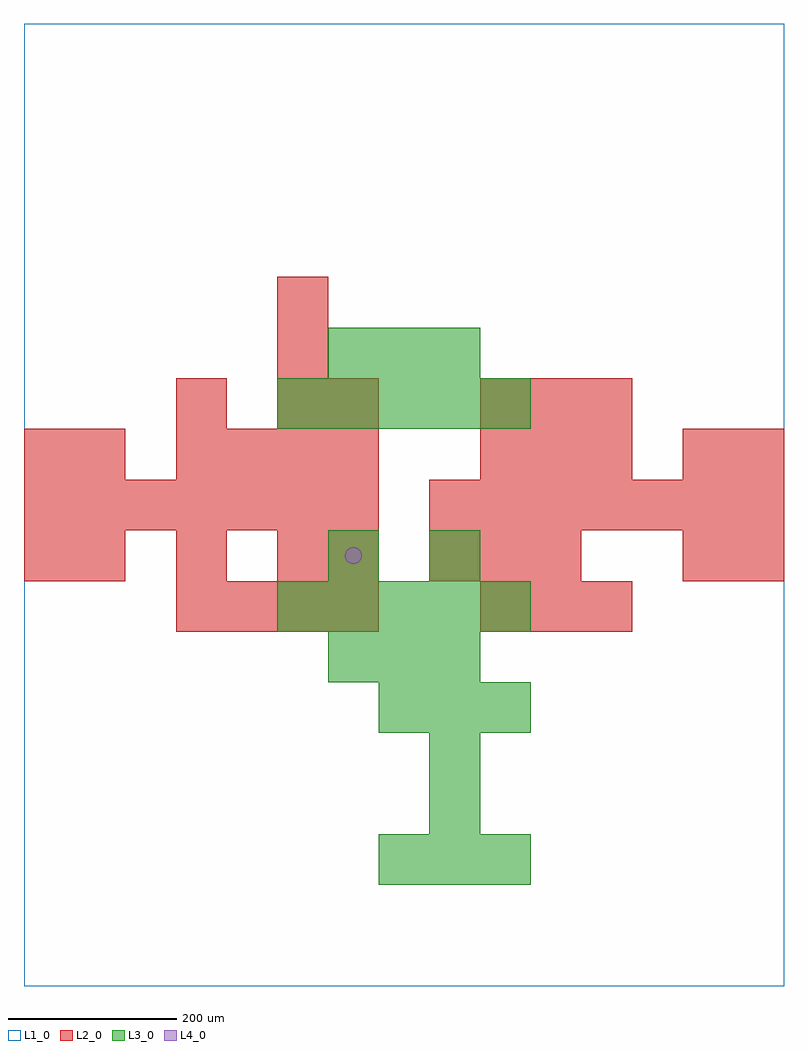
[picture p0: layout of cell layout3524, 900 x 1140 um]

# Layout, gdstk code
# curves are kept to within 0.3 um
import gdstk
lib = gdstk.Library(unit=1e-6, precision=1e-09)
def R(c, l, rs):  # rectangles x0, y0, x1, y1
    for r in rs: c.add(gdstk.rectangle(r[:2], r[2:], *l))
def A(c, l, x, y, w, h, nx, ny, dx, dy):  # array of equal rectangles
    R(c, l, [(x+i*dx, y+j*dy, x+i*dx+w, y+j*dy+h) for i in range(nx) for j in range(ny)])
def P(c, l, *ps):  # polygons
    for p in ps: c.add(gdstk.Polygon(p, *l))
L1_0 = (1, 0)
L2_0 = (2, 0)
L3_0 = (3, 0)
L4_0 = (4, 0)

layout3524 = lib.new_cell('layout3524')
R(layout3524, L1_0, [(0,0,900,1140)])
A(layout3524, L2_0, 180, 420, 60, 60, 4, 2, 60, 180)
A(layout3524, L2_0, 540, 420, 60, 60, 3, 2, 60, 180)
A(layout3524, L2_0, 60, 480, 60, 60, 3, 1, 120, 0)
A(layout3524, L2_0, 480, 480, 60, 60, 3, 1, 60, 0)
A(layout3524, L2_0, 0, 540, 60, 60, 7, 1, 60, 0)
A(layout3524, L2_0, 480, 540, 60, 60, 7, 1, 60, 0)
A(layout3524, L2_0, 300, 660, 60, 60, 1, 3, 0, 60)
A(layout3524, L2_0, 540, 660, 60, 60, 3, 1, 60, 0)
R(layout3524, L2_0, [(0,480,60,540), (360,480,420,540), (780,480,840,540), (840,480,900,540), (0,600,60,660), (60,600,120,660), (780,600,840,660), (840,600,900,660), (180,660,240,720), (360,660,420,720)])
A(layout3524, L3_0, 420, 120, 60, 60, 3, 2, 60, 180)
A(layout3524, L3_0, 360, 360, 60, 60, 3, 2, 60, 360)
A(layout3524, L3_0, 300, 420, 60, 60, 5, 2, 60, 240)
R(layout3524, L3_0, [(480,180,540,240), (480,240,540,300), (360,480,420,540), (480,480,540,540)])
P(layout3524, L4_0, [(400,510),(399.239,513.827),(397.071,517.071),(393.827,519.239),(390,520),(386.173,519.239),(382.929,517.071),(380.761,513.827),(380,510),(380.761,506.173),(382.929,502.929),(386.173,500.761),(390,500),(393.827,500.761),(397.071,502.929),(399.239,506.173)])

lib.write_gds('layout3524.gds')
